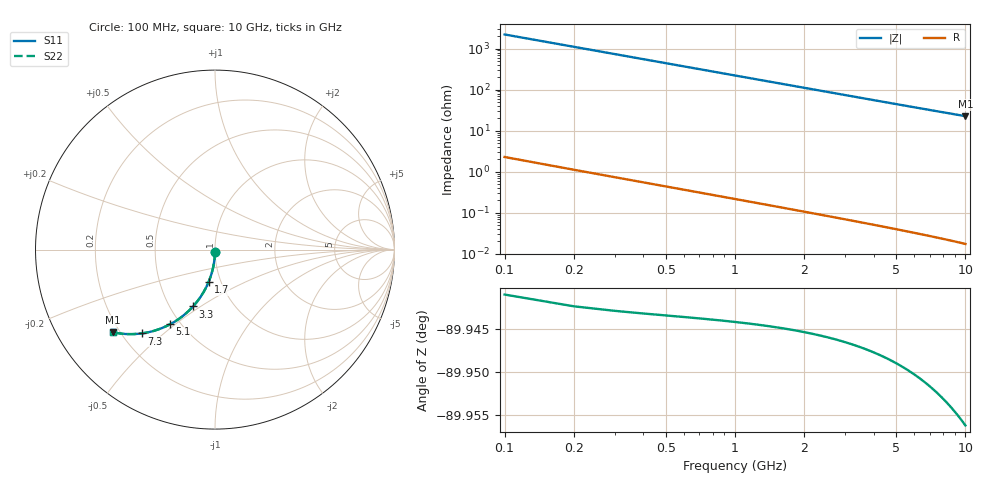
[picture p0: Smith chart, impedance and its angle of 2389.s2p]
# Hz S RI R 50.00
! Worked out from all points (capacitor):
!   100 points, 100 MHz to 10 GHz, reference 50 ohm
!   read as one part in shunt: C = 720 fF near 100 MHz
!   lowest |Z| = 22.6 ohm at 10 GHz (marker M1)
!   S11 on the Smith chart (normalised r, x): 100 MHz: 1.00, -0.02; 1.7 GHz: 0.87, -0.33; 3.3 GHz: 0.65, -0.47; 5.1 GHz: 0.44, -0.48; 7.3 GHz: 0.28, -0.42; 10 GHz: 0.17, -0.35
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1e8  7.82e-05 -0.011  0.9996 -0.0116  0.9996 -0.0116  7.82e-05 -0.011
2e8  -0.000314 -0.0219  0.9992 -0.0233  0.9992 -0.0233  -0.000314 -0.0219
3e8  -0.000962 -0.0329  0.9986 -0.0349  0.9986 -0.0349  -0.000962 -0.0329
4e8  -0.00186 -0.0438  0.9977 -0.0465  0.9977 -0.0465  -0.00186 -0.0438
5e8  -0.00302 -0.0547  0.9965 -0.058  0.9965 -0.058  -0.00302 -0.0547
6e8  -0.00442 -0.0655  0.9951 -0.0695  0.9951 -0.0695  -0.00442 -0.0655
8e8  -0.00797 -0.0871  0.9916 -0.0924  0.9916 -0.0924  -0.00797 -0.0871
9e8  -0.0101 -0.0977  0.9894 -0.1037  0.9894 -0.1037  -0.0101 -0.0977
1.1e9  -0.0151 -0.1188  0.9844 -0.1261  0.9844 -0.1261  -0.0151 -0.1188
1.4e9  -0.0244 -0.1498  0.9751 -0.1591  0.9751 -0.1591  -0.0244 -0.1498
1.7e9  -0.0356 -0.1798  0.9639 -0.191  0.9639 -0.191  -0.0356 -0.1798
1.8e9  -0.0397 -0.1895  0.9597 -0.2014  0.9597 -0.2014  -0.0397 -0.1895
2.1e9  -0.0534 -0.2179  0.9461 -0.2318  0.9461 -0.2318  -0.0534 -0.2179
2.5e9  -0.0741 -0.2536  0.9253 -0.2702  0.9253 -0.2702  -0.0741 -0.2536
3.3e9  -0.1226 -0.3169  0.8767 -0.3388  0.8767 -0.3388  -0.1226 -0.3169
3.4e9  -0.1291 -0.324  0.8701 -0.3465  0.8701 -0.3465  -0.1291 -0.324
4.2e9  -0.1848 -0.374  0.8143 -0.402  0.8143 -0.402  -0.1848 -0.374
5.1e9  -0.251 -0.4164  0.7479 -0.4504  0.7479 -0.4504  -0.251 -0.4164
6.7e9  -0.3677 -0.4595  0.6308 -0.5042  0.6308 -0.5042  -0.3677 -0.4595
7.3e9  -0.4089 -0.4668  0.5894 -0.5157  0.5894 -0.5157  -0.4089 -0.4668
8.4e9  -0.4792 -0.4709  0.5187 -0.5273  0.5187 -0.5273  -0.4792 -0.4709
1e10  -0.5678 -0.4609  0.4294 -0.5284  0.4294 -0.5284  -0.5678 -0.4609
